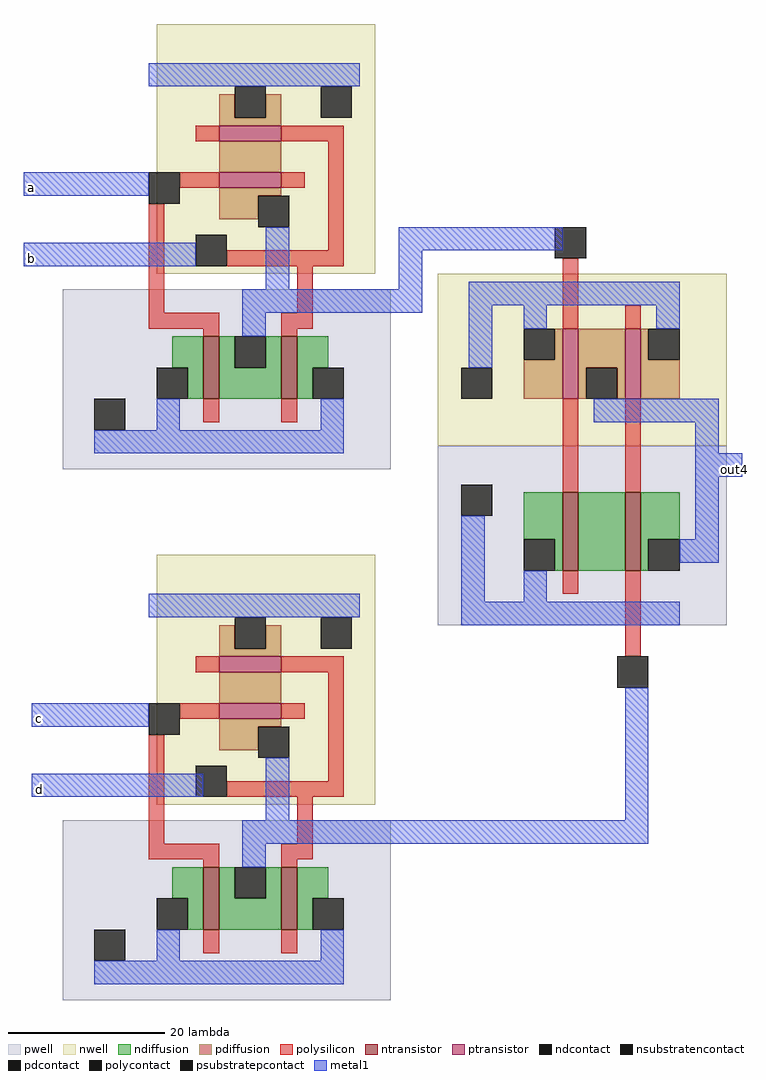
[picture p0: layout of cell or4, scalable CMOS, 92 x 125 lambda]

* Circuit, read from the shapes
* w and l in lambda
.subckt or4 GND! Vdd! a b c d out4
M1 nand2_0/B c GND! GND! nfet w=8 l=2
M2 nand2_0/A a GND! GND! nfet w=8 l=2
M3 GND! d nand2_0/B GND! nfet w=8 l=2
M4 GND! b nand2_0/A GND! nfet w=8 l=2
M5 n1 nand2_0/A GND! GND! nfet w=10 l=2
M6 out4 nand2_0/B n1 GND! nfet w=10 l=2
M7 n2 c nand2_0/B Vdd! pfet w=8 l=2
M8 Vdd! d n2 Vdd! pfet w=8 l=2
M9 n3 a nand2_0/A Vdd! pfet w=8 l=2
M10 Vdd! b n3 Vdd! pfet w=8 l=2
M11 out4 nand2_0/A Vdd! Vdd! pfet w=9 l=2
M12 Vdd! nand2_0/B out4 Vdd! pfet w=9 l=2
.ends

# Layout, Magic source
magic
tech scmos
<< metal1 >>
rect -52 51 -36 54
rect -52 42 -30 45
rect -4 44 17 47
rect -4 39 -1 44
rect -14 36 -1 39
rect 34 15 40 18
rect -51 -17 -36 -14
rect -51 -26 -29 -23
rect 25 -29 28 -12
rect -16 -32 28 -29
use nand2  nand2_0
transform 1 0 -9 0 1 3
box 10 -15 47 44
use nor2  nor2_0
transform 1 0 -53 0 1 26
box 6 -10 48 47
use nor2  nor2_1
transform 1 0 -53 0 1 -42
box 6 -10 48 47
<< labels >>
rlabel metal1 -50 -25 -50 -25 3 d
rlabel metal1 -50 -16 -50 -16 3 c
rlabel metal1 -51 52 -51 52 3 a
rlabel metal1 -51 43 -51 43 3 b
rlabel metal1 39 16 39 16 7 out4
<< end >>

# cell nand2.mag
magic
tech scmos
<< nwell >>
rect 10 16 47 38
<< pwell >>
rect 10 -7 47 16
<< ntransistor >>
rect 26 0 28 10
rect 34 0 36 10
<< ptransistor >>
rect 26 22 28 31
rect 34 22 36 31
<< ndiffusion >>
rect 21 4 26 10
rect 25 0 26 4
rect 28 0 34 10
rect 36 4 41 10
rect 36 0 37 4
<< pdiffusion >>
rect 25 27 26 31
rect 21 22 26 27
rect 28 26 34 31
rect 28 22 29 26
rect 33 22 34 26
rect 36 27 37 31
rect 36 22 41 27
<< ndcontact >>
rect 21 0 25 4
rect 37 0 41 4
<< pdcontact >>
rect 21 27 25 31
rect 29 22 33 26
rect 37 27 41 31
<< psubstratepcontact >>
rect 13 7 17 11
<< nsubstratencontact >>
rect 13 22 17 26
<< polysilicon >>
rect 26 31 28 40
rect 34 31 36 34
rect 26 10 28 22
rect 34 10 36 22
rect 26 -3 28 0
rect 34 -11 36 0
<< polycontact >>
rect 25 40 29 44
rect 33 -15 37 -11
<< metal1 >>
rect 14 34 41 37
rect 14 26 17 34
rect 21 31 24 34
rect 38 31 41 34
rect 30 19 46 22
rect 13 -4 16 7
rect 43 4 46 19
rect 41 1 46 4
rect 21 -4 24 0
rect 13 -7 41 -4
<< labels >>
rlabel metal1 14 34 41 37 1 Vdd!
rlabel metal1 13 -7 41 -4 5 GND!
rlabel metal1 43 12 46 15 3 out
port 3 e
rlabel polycontact 25 40 29 44 1 A
port 2 n
rlabel polycontact 33 -15 37 -11 5 B
port 1 s
<< end >>

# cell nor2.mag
magic
tech scmos
<< nwell >>
rect 18 15 46 47
<< pwell >>
rect 6 -10 48 13
<< ntransistor >>
rect 24 -1 26 7
rect 34 -1 36 7
<< ptransistor >>
rect 26 32 34 34
rect 26 26 34 28
<< ndiffusion >>
rect 20 3 24 7
rect 22 -1 24 3
rect 26 3 28 7
rect 32 3 34 7
rect 26 -1 34 3
rect 36 3 40 7
rect 36 -1 38 3
<< pdiffusion >>
rect 26 35 28 38
rect 32 35 34 38
rect 26 34 34 35
rect 26 28 34 32
rect 26 25 34 26
rect 26 22 31 25
<< ndcontact >>
rect 18 -1 22 3
rect 28 3 32 7
rect 38 -1 42 3
<< pdcontact >>
rect 28 35 32 39
rect 31 21 35 25
<< psubstratepcontact >>
rect 10 -5 14 -1
<< nsubstratencontact >>
rect 39 35 43 39
<< polysilicon >>
rect 23 32 26 34
rect 34 32 42 34
rect 21 26 26 28
rect 34 26 37 28
rect 17 10 19 24
rect 40 18 42 32
rect 27 16 42 18
rect 36 10 38 16
rect 17 8 26 10
rect 24 7 26 8
rect 34 8 38 10
rect 34 7 36 8
rect 24 -4 26 -1
rect 34 -4 36 -1
<< polycontact >>
rect 17 24 21 28
rect 23 16 27 20
<< metal1 >>
rect 17 39 44 42
rect 32 13 35 21
rect 29 10 42 13
rect 29 7 32 10
rect 18 -5 21 -1
rect 39 -5 42 -1
rect 10 -8 42 -5
<< labels >>
rlabel metal1 18 -8 42 -5 5 GND!
rlabel metal1 17 39 42 42 1 Vdd!
rlabel polycontact 17 24 21 28 7 A
rlabel polycontact 23 16 27 20 7 B
rlabel metal1 38 10 42 13 3 out
<< end >>
